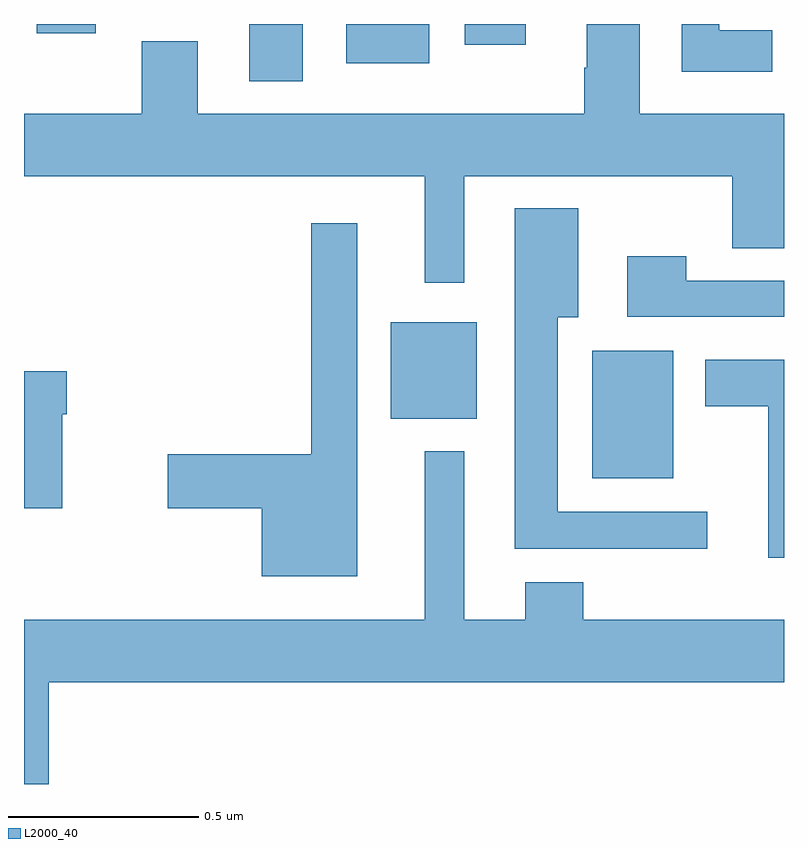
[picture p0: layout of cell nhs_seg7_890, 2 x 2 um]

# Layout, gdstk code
import gdstk
lib = gdstk.Library(unit=1e-6, precision=1e-09)
def R(c, l, rs):  # rectangles x0, y0, x1, y1
    for r in rs: c.add(gdstk.rectangle(r[:2], r[2:], *l))
def P(c, l, *ps):  # polygons
    for p in ps: c.add(gdstk.Polygon(p, *l))
L2000_40 = (2000, 40)

nhs_seg7_890 = lib.new_cell('nhs_seg7_890')
R(nhs_seg7_890, L2000_40, [(124.496,1015.805,124.708,1016.14), (123.965,1015.961,124.192,1016.215), (123.593,1016.85,123.733,1017), (123.848,1016.897,124.066,1017), (124.16,1016.946,124.321,1017), (123.033,1016.976,123.189,1017)])
P(nhs_seg7_890, L2000_40, [(124.159,1016.6),(124.864,1016.6),(124.864,1016.41),(125,1016.41),(125,1016.764),(124.621,1016.764),(124.621,1017),(124.481,1017),(124.481,1016.885),(124.474,1016.885),(124.474,1016.764),(123.457,1016.764),(123.457,1016.954),(123.31,1016.954),(123.31,1016.764),(123,1016.764),(123,1016.6),(124.055,1016.6),(124.055,1016.319),(124.159,1016.319)],
  [(124.969,1016.983),(124.829,1016.983),(124.829,1017),(124.731,1017),(124.731,1016.874),(124.969,1016.874)],
  [(124.798,1015.716),(124.405,1015.716),(124.405,1016.228),(124.459,1016.228),(124.459,1016.515),(124.292,1016.515),(124.292,1015.619),(124.798,1015.619)],
  [(123.877,1016.476),(123.756,1016.476),(123.756,1015.868),(123.378,1015.868),(123.378,1015.726),(123.626,1015.726),(123.626,1015.547),(123.877,1015.547)],
  [(125,1016.325),(124.743,1016.325),(124.743,1016.389),(124.587,1016.389),(124.587,1016.229),(125,1016.229)],
  [(125,1016.116),(124.793,1016.116),(124.793,1015.994),(124.958,1015.994),(124.958,1015.596),(125,1015.596)],
  [(123.1,1015.973),(123.113,1015.973),(123.113,1016.086),(123,1016.086),(123,1015.726),(123.1,1015.726)],
  [(123.065,1015.268),(125,1015.268),(125,1015.432),(124.472,1015.432),(124.472,1015.531),(124.319,1015.531),(124.319,1015.432),(124.159,1015.432),(124.159,1015.876),(124.055,1015.876),(124.055,1015.432),(123,1015.432),(123,1015),(123.065,1015)])

lib.write_gds('nhs_seg7_890.gds')
